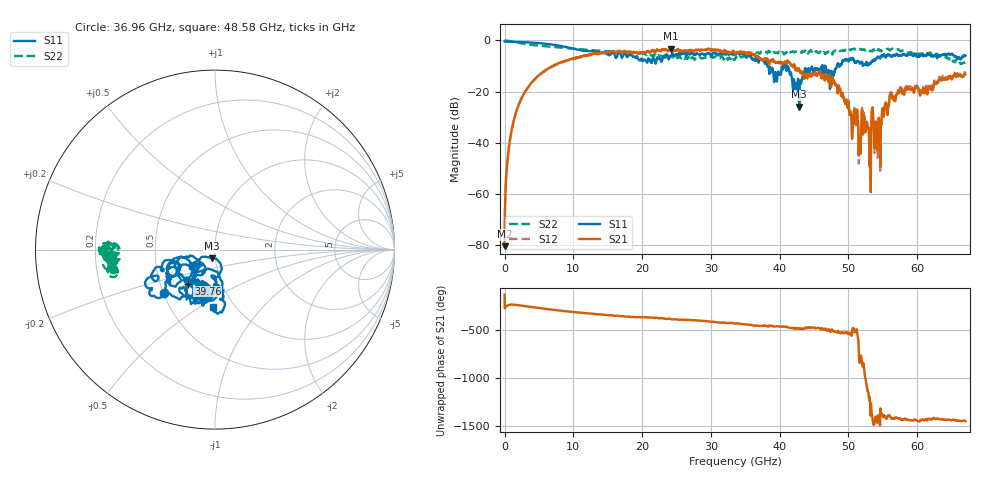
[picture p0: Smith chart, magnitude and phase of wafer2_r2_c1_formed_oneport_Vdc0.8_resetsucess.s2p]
!Keysight Technologies,N5227A,US51270248,A.10.65.08
!Date: Tuesday, June 11, 2024 07:59:58
!Correction: S11(Full 2 Port(1,4))
!S41(Full 2 Port(1,4))
!S14(Full 2 Port(1,4))
!S44(Full 2 Port(1,4))
!S2P File: Measurements: S11, S41, S14, S44:
# Hz S  dB  R 50
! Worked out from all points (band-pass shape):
!   3201 points, 10 MHz to 67 GHz, reference 50 ohm
!   highest |S21| = -3.23 dB at 24.19 GHz (marker M1); lowest = -80.4 dB at 10 MHz (marker M2)
!   |S21| within 3 dB of the highest: 11.24 GHz to 36.57 GHz (25.32 GHz wide, 106 % of centre); 36.74534 GHz to 36.86009 GHz (114.7 MHz wide, 0.312 % of centre)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
!   lowest |S11| = -25.9 dB at 42.84 GHz (marker M3), VSWR 1.11, Z = 48 - j4.6 ohm
!   |S11| at or under -10 dB: 38.36 GHz to 40.59 GHz (2.233 GHz wide, 5.66 % of centre); 41.16 GHz to 46.11 GHz (4.943 GHz wide, 11.3 % of centre); 46.63 GHz to 48.31 GHz (1.676 GHz wide, 3.53 % of centre)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
!   |S22| runs from -9.2 to 0.0 dB; largest |S21 - S12| = 0.052
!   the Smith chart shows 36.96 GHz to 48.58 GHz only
!   S11 on the Smith chart (normalised r, x): 36.96 GHz: 0.50, -0.28; 39.76 GHz: 0.69, -0.28; 48.58 GHz: 0.80, -0.57
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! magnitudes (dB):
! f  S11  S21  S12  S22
! 10 MHz  -0.4  -80.4  -78.5  0.0
! 407.8 MHz  -0.5  -47.4  -46.7  -0.1
! 763.6 MHz  -0.5  -39.4  -39.0  -0.2
! 2.48 GHz  -0.6  -22.6  -22.6  -1.1
! 5.788 GHz  -1.2  -11.9  -12.1  -2.2
! 11.19 GHz  -3.9  -6.2  -6.6  -3.5
! 22.35 GHz  -7.0  -3.8  -3.9  -5.9
! 24.19 GHz  -5.9  -3.2  -3.3  -6.3
! 33.51 GHz  -5.5  -5.0  -5.0  -7.2
! 36.96 GHz  -8.5  -6.8  -6.9  -4.8
! 39.76 GHz  -12.4  -8.5  -8.4  -5.0
! 40.96 GHz  -11.1  -8.9  -8.9  -4.5
! 42.84 GHz  -25.9  -11.2  -11.2  -4.4
! 44.68 GHz  -10.3  -13.6  -13.4  -4.3
! 48.58 GHz  -10.0  -17.6  -17.5  -4.0
! 51.09 GHz  -8.6  -32.5  -31.5  -3.4
! 51.49 GHz  -8.4  -44.9  -46.1  -3.5
! 52.2 GHz  -9.3  -29.8  -29.1  -3.5
! 52.97 GHz  -9.1  -35.7  -34.4  -3.9
! 54.5 GHz  -6.4  -31.5  -32.2  -4.0
! 55.84 GHz  -5.5  -25.5  -24.9  -3.4
! 67 GHz  -6.0  -13.2  -12.7  -8.6
